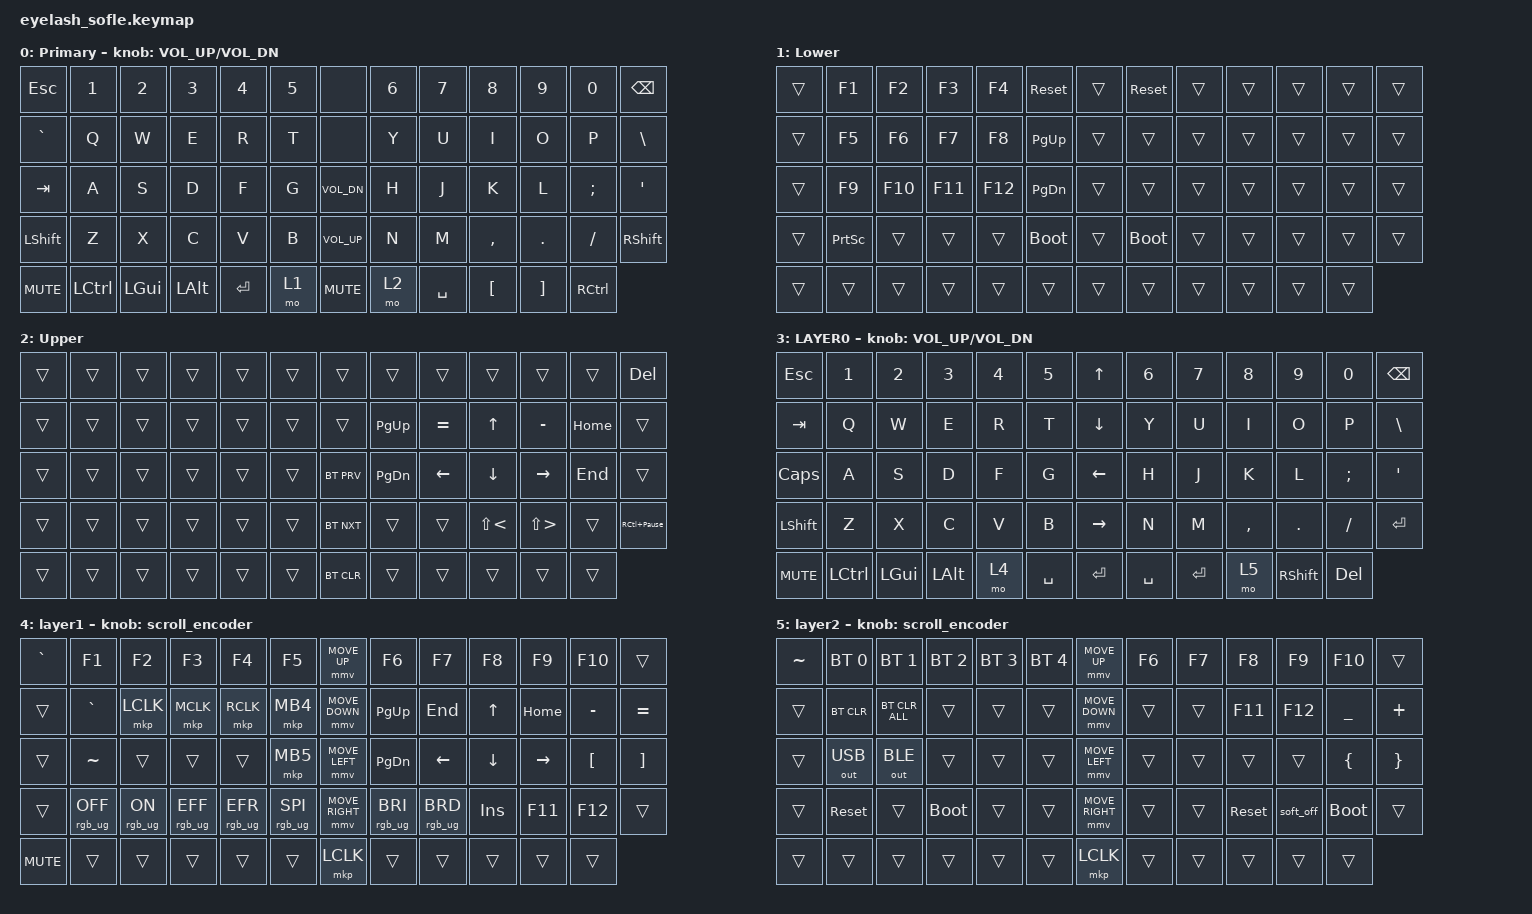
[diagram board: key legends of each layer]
#define ZMK_POINTING_DEFAULT_MOVE_VAL 1200  // 600
#define ZMK_POINTING_DEFAULT_SCRL_VAL 25   // 10

#include <input/processors.dtsi>
#include <zephyr/dt-bindings/input/input-event-codes.h>
#include <behaviors.dtsi>
#include <dt-bindings/zmk/bt.h>
#include <dt-bindings/zmk/keys.h>
#include <dt-bindings/zmk/outputs.h>
#include <dt-bindings/zmk/pointing.h>
#include <dt-bindings/zmk/rgb.h>

&mmv_input_listener { input-processors = <&zip_xy_scaler 2 1>; };

&msc_input_listener { input-processors = <&zip_scroll_scaler 2 1>; };

&msc {
    acceleration-exponent = <1>;      // 0
    time-to-max-speed-ms = <100>;       // 300
    delay-ms = <0>;                   // 0
};

&mmv {
    time-to-max-speed-ms = <500>;
    acceleration-exponent = <1>;
    trigger-period-ms = <16>;
};

&soft_off { hold-time-ms = <2000>; };

/ {
    scroll_encoder: scroll_encoder {
        compatible = "zmk,behavior-sensor-rotate";
        #sensor-binding-cells = <0>;
        bindings = <&msc SCRL_DOWN>, <&msc SCRL_UP>;

        tap-ms = <100>;
    };

    behaviors {
    };

    combos {
        compatible = "zmk,combos";

        softoff {
            bindings = <&soft_off>;
            key-positions = <14 28 40>;
        };
    };

    macros {
        SHIFT_MCLK: SHIFT_MCLK {
            compatible = "zmk,behavior-macro";
            #binding-cells = <0>;
            bindings =
                <&macro_press>,
                <&kp LEFT_SHIFT>,
                <&macro_press>,
                <&mkp MB3>,
                <&macro_pause_for_release>,
                <&macro_release>,
                <&kp LEFT_SHIFT &mkp MB3>;

            label = "SHIFT_MCLK";
        };
    };

    keymap {
        compatible = "zmk,keymap";

        Primary {
            display-name = "Primary";
            bindings = <
&kp ESC     &kp N1     &kp N2    &kp N3    &kp N4     &kp N5    &none         &kp N6  &kp N7     &kp N8     &kp N9    &kp N0     &kp BSPC
&kp GRAVE   &kp Q      &kp W     &kp E     &kp R      &kp T     &none         &kp Y   &kp U      &kp I      &kp O     &kp P      &kp BSLH
&kp TAB     &kp A      &kp S     &kp D     &kp F      &kp G     &kp C_VOL_DN  &kp H   &kp J      &kp K      &kp L     &kp SEMI   &kp SQT
&kp LSHFT   &kp Z      &kp X     &kp C     &kp V      &kp B     &kp C_VOL_UP  &kp N   &kp M      &kp COMMA  &kp DOT   &kp FSLH   &kp RSHIFT
&kp C_MUTE  &kp LCTRL  &kp LGUI  &kp LALT  &kp ENTER  &mo 1     &kp C_MUTE    &mo 2   &kp SPACE  &kp LBKT   &kp RBKT  &kp RCTRL
            >;

            sensor-bindings = <&inc_dec_kp C_VOLUME_UP C_VOL_DN>;
        };

        Lower {
            bindings = <
&trans  &kp F1     &kp F2   &kp F3   &kp F4   &sys_reset     &trans  &sys_reset   &trans  &trans  &trans  &trans  &trans
&trans  &kp F5     &kp F6   &kp F7   &kp F8   &kp PG_UP      &trans  &trans       &trans  &trans  &trans  &trans  &trans
&trans  &kp F9     &kp F10  &kp F11  &kp F12  &kp PG_DN      &trans  &trans       &trans  &trans  &trans  &trans  &trans
&trans  &kp PSCRN  &trans   &trans   &trans   &bootloader    &trans  &bootloader  &trans  &trans  &trans  &trans  &trans
&trans  &trans     &trans   &trans   &trans   &trans         &trans  &trans       &trans  &trans  &trans  &trans
            >;

            label = "Lower";
        };

        Upper {
            bindings = <
&trans  &trans  &trans  &trans  &trans  &trans    &trans      &trans     &trans     &trans      &trans      &trans    &kp DEL
&trans  &trans  &trans  &trans  &trans  &trans    &trans      &kp PG_UP  &kp EQUAL  &kp UP      &kp MINUS   &kp HOME  &trans
&trans  &trans  &trans  &trans  &trans  &trans    &bt BT_PRV  &kp PG_DN  &kp LEFT   &kp DOWN    &kp RIGHT   &kp END   &trans
&trans  &trans  &trans  &trans  &trans  &trans    &bt BT_NXT  &trans     &trans     &kp LS(LT)  &kp LS(GT)  &trans    &kp RC(PAUSE_BREAK)
&trans  &trans  &trans  &trans  &trans  &trans    &bt BT_CLR  &trans     &trans     &trans      &trans      &trans
            >;

            label = "Upper";
        };

        layer0 {
            bindings = <
&kp ESC     &kp N1     &kp N2        &kp N3        &kp N4  &kp N5       &kp UP_ARROW     &kp N6     &kp N7     &kp N8     &kp N9           &kp N0      &kp BACKSPACE
&kp TAB     &kp Q      &kp W         &kp E         &kp R   &kp T        &kp DOWN_ARROW   &kp Y      &kp U      &kp I      &kp O            &kp P       &kp BSLH
&kp CAPS    &kp A      &kp S         &kp D         &kp F   &kp G        &kp LEFT_ARROW   &kp H      &kp J      &kp K      &kp L            &kp SEMI    &kp APOS
&kp LSHFT   &kp Z      &kp X         &kp C         &kp V   &kp B        &kp RIGHT_ARROW  &kp N      &kp M      &kp COMMA  &kp DOT          &kp FSLH    &kp ENTER
&kp C_MUTE  &kp LCTRL  &kp LEFT_GUI  &kp LEFT_ALT  &mo 4   &kp SPACE    &kp ENTER        &kp SPACE  &kp ENTER  &mo 5      &kp RIGHT_SHIFT  &kp DELETE
            >;

            sensor-bindings = <&inc_dec_kp C_VOLUME_UP C_VOL_DN>;
            display-name = "LAYER0";
        };

        layer_1 {
            bindings = <
&kp GRAVE   &kp F1           &kp F2          &kp F3           &kp F4           &kp F5             &mmv MOVE_UP     &kp F6           &kp F7           &kp F8      &kp F9     &kp F10           &trans
&trans      &kp GRAVE        &mkp LCLK       &mkp MCLK        &mkp RCLK        &mkp MB4           &mmv MOVE_DOWN   &kp PG_UP        &kp END          &kp UP      &kp HOME   &kp MINUS         &kp EQUAL
&trans      &kp TILDE        &trans          &trans           &trans           &mkp MB5           &mmv MOVE_LEFT   &kp PG_DN        &kp LEFT         &kp DOWN    &kp RIGHT  &kp LEFT_BRACKET  &kp RIGHT_BRACKET
&trans      &rgb_ug RGB_OFF  &rgb_ug RGB_ON  &rgb_ug RGB_EFF  &rgb_ug RGB_EFR  &rgb_ug RGB_SPI    &mmv MOVE_RIGHT  &rgb_ug RGB_BRI  &rgb_ug RGB_BRD  &kp INSERT  &kp F11    &kp F12           &trans
&kp C_MUTE  &trans           &trans          &trans           &trans           &trans             &mkp LCLK        &trans           &trans           &trans      &trans     &trans
            >;

            display-name = "layer1";
            sensor-bindings = <&scroll_encoder>;
        };

        layer_2 {
            bindings = <
&kp TILDE  &bt BT_SEL 0  &bt BT_SEL 1    &bt BT_SEL 2  &bt BT_SEL 3  &bt BT_SEL 4    &mmv MOVE_UP     &kp F6  &kp F7  &kp F8      &kp F9     &kp F10      &trans
&trans     &bt BT_CLR    &bt BT_CLR_ALL  &trans        &trans        &trans          &mmv MOVE_DOWN   &trans  &trans  &kp F11     &kp F12    &kp UNDER    &kp PLUS
&trans     &out OUT_USB  &out OUT_BLE    &trans        &trans        &trans          &mmv MOVE_LEFT   &trans  &trans  &trans      &trans     &kp LBRC     &kp RBRC
&trans     &sys_reset    &trans          &bootloader   &trans        &trans          &mmv MOVE_RIGHT  &trans  &trans  &sys_reset  &soft_off  &bootloader  &trans
&trans     &trans        &trans          &trans        &trans        &trans          &mkp LCLK        &trans  &trans  &trans      &trans     &trans
            >;

            display-name = "layer2";
            sensor-bindings = <&scroll_encoder>;
        };
    };
};
